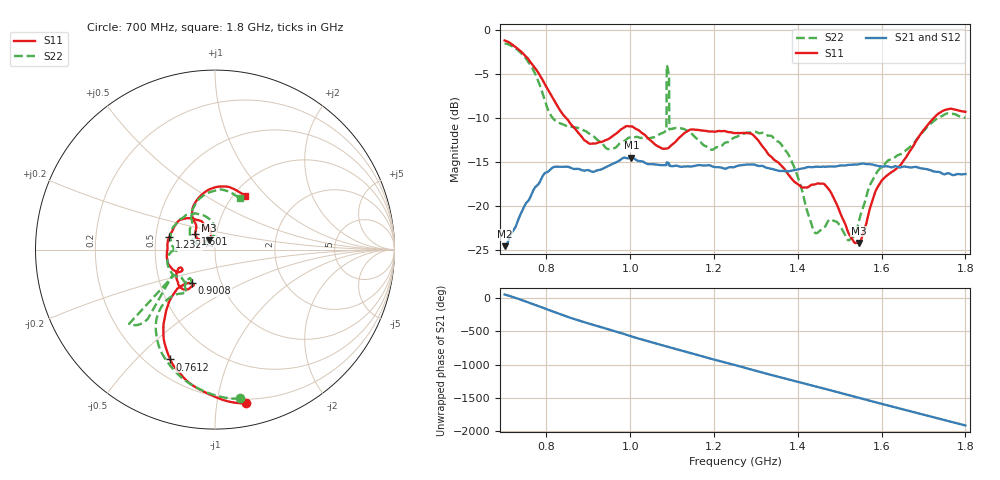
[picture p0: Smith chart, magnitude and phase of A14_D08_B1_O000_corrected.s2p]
! Created with skrf 1.9.0 (http://scikit-rf.org).
# Hz S RI R 50.0
!freq ReS11 ImS11 ReS21 ImS21 ReS12 ImS12 ReS22 ImS22
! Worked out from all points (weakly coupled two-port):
!   1601 points, 700 MHz to 1.8 GHz, reference 50 ohm
!   highest |S21| = -14.49 dB at 1.002 GHz (marker M1); lowest = -24.6 dB at 700.7 MHz (marker M2)
!   lowest |S11| = -24.2 dB at 1.545 GHz (marker M3), VSWR 1.13, Z = 46.4 + j4.77 ohm
!   |S11| at or under -10 dB: 847.3 MHz to 1.724 GHz (877 MHz wide, 68.2 % of centre)
!   |S22| runs from -23.9 to -1.5 dB; largest |S21 - S12| = 0.0037
!   S11 on the Smith chart (normalised r, x): 700 MHz: 0.17, -1.21; 761.2 MHz: 0.29, -0.63; 900.8 MHz: 0.72, -0.29; 1.232 GHz: 0.59, +0.09; 1.601 GHz: 0.79, +0.14; 1.8 GHz: 1.12, +0.76
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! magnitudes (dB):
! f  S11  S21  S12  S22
! 700 MHz  -1.2  -24.6  -24.3  -1.5
! 700.7 MHz  -1.2  -24.6  -24.3  -1.5
! 761.2 MHz  -3.6  -19.0  -18.9  -3.9
! 814.8 MHz  -7.7  -15.6  -15.7  -10.0
! 883.6 MHz  -12.1  -15.9  -15.8  -11.3
! 900.8 MHz  -12.9  -15.9  -15.9  -11.7
! 1.002 GHz  -10.9  -14.5  -14.6  -12.3
! 1.067 GHz  -13.2  -15.3  -15.3  -11.9
! 1.081 GHz  -13.5  -15.4  -15.4  -11.6
! 1.093 GHz  -13.3  -15.2  -15.2  -5.4
! 1.099 GHz  -13.1  -15.5  -15.4  -11.2
! 1.232 GHz  -11.6  -15.7  -15.6  -12.7
! 1.25 GHz  -11.7  -15.5  -15.5  -12.2
! 1.359 GHz  -15.3  -16.0  -16.0  -12.9
! 1.434 GHz  -17.6  -15.6  -15.6  -22.2
! 1.471 GHz  -17.9  -15.5  -15.5  -21.9
! 1.522 GHz  -23.2  -15.3  -15.3  -23.9
! 1.545 GHz  -24.2  -15.3  -15.2  -21.9
! 1.601 GHz  -17.0  -15.5  -15.5  -15.5
! 1.617 GHz  -16.4  -15.5  -15.5  -14.8
! 1.734 GHz  -9.6  -16.1  -16.2  -10.0
! 1.8 GHz  -9.3  -16.4  -16.4  -10.0
